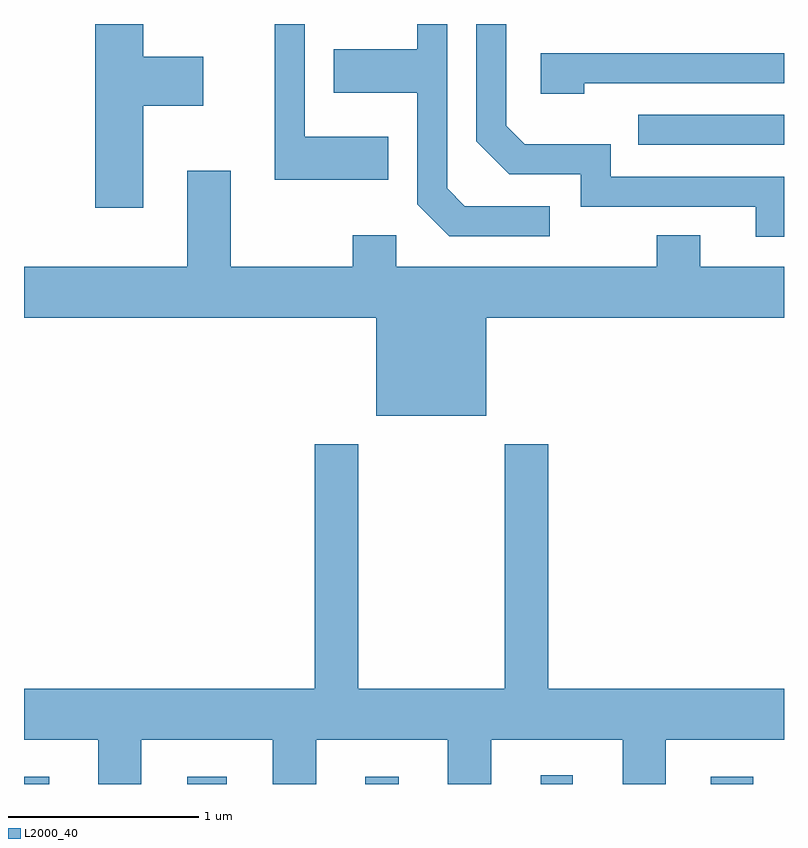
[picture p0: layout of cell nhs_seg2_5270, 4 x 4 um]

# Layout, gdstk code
import gdstk
lib = gdstk.Library(unit=1e-6, precision=1e-09)
def R(c, l, rs):  # rectangles x0, y0, x1, y1
    for r in rs: c.add(gdstk.rectangle(r[:2], r[2:], *l))
def P(c, l, *ps):  # polygons
    for p in ps: c.add(gdstk.Polygon(p, *l))
L2000_40 = (2000, 40)

nhs_seg2_5270 = lib.new_cell('nhs_seg2_5270')
R(nhs_seg2_5270, L2000_40, [(339.611,1105.802,339.744,1105.839), (340.471,1105.802,340.679,1105.839), (341.406,1105.802,341.584,1105.839), (342.331,1105.802,342.499,1105.848), (343.226,1105.802,343.449,1105.839), (342.843,1109.166,343.611,1109.324)])
P(nhs_seg2_5270, L2000_40, [(342.378,1108.844),(341.932,1108.844),(341.839,1108.937),(341.839,1109.802),(341.681,1109.802),(341.681,1109.669),(341.241,1109.669),(341.241,1109.441),(341.681,1109.441),(341.681,1108.854),(341.849,1108.686),(342.378,1108.686)],
  [(340.239,1109.371),(340.554,1109.371),(340.554,1109.629),(340.239,1109.629),(340.239,1109.802),(339.986,1109.802),(339.986,1108.836),(340.239,1108.836)],
  [(341.529,1109.209),(341.089,1109.209),(341.089,1109.802),(340.931,1109.802),(340.931,1108.981),(341.529,1108.981)],
  [(343.611,1108.999),(342.699,1108.999),(342.699,1109.169),(342.247,1109.169),(342.149,1109.267),(342.149,1109.802),(341.991,1109.802),(341.991,1109.184),(342.164,1109.011),(342.541,1109.011),(342.541,1108.841),(343.461,1108.841),(343.461,1108.681),(343.611,1108.681)],
  [(342.559,1109.491),(343.611,1109.491),(343.611,1109.649),(342.331,1109.649),(342.331,1109.436),(342.559,1109.436)],
  [(342.044,1108.256),(343.611,1108.256),(343.611,1108.524),(343.169,1108.524),(343.169,1108.689),(342.941,1108.689),(342.941,1108.524),(341.569,1108.524),(341.569,1108.689),(341.341,1108.689),(341.341,1108.524),(340.699,1108.524),(340.699,1109.029),(340.471,1109.029),(340.471,1108.524),(339.611,1108.524),(339.611,1108.256),(341.466,1108.256),(341.466,1107.741),(342.044,1107.741)],
  [(340.229,1106.036),(340.921,1106.036),(340.921,1105.802),(341.149,1105.802),(341.149,1106.036),(341.841,1106.036),(341.841,1105.802),(342.069,1105.802),(342.069,1106.036),(342.761,1106.036),(342.761,1105.802),(342.989,1105.802),(342.989,1106.036),(343.611,1106.036),(343.611,1106.304),(342.369,1106.304),(342.369,1107.589),(342.141,1107.589),(342.141,1106.304),(341.369,1106.304),(341.369,1107.589),(341.141,1107.589),(341.141,1106.304),(339.611,1106.304),(339.611,1106.036),(340.001,1106.036),(340.001,1105.802),(340.229,1105.802)])

lib.write_gds('nhs_seg2_5270.gds')
